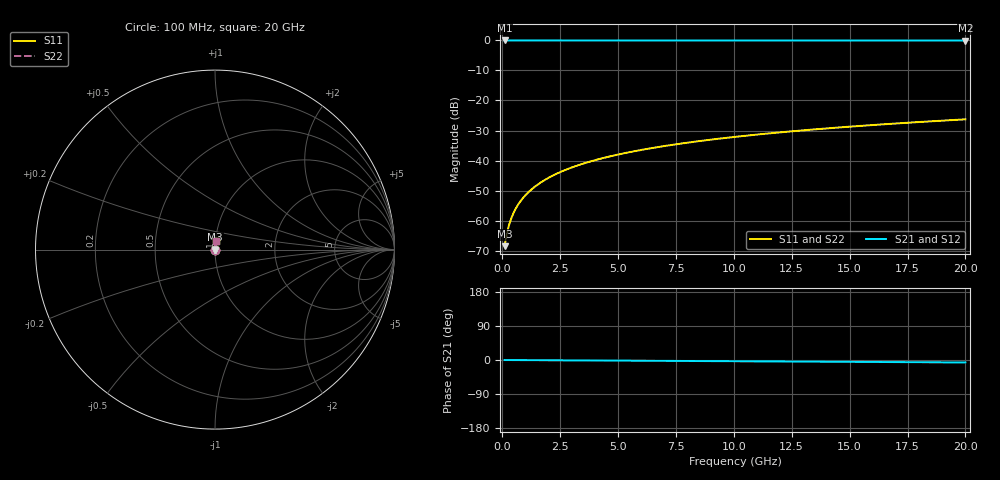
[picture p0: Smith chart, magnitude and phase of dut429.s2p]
! Touchstone file exported from HFSS 2026.1.0
!  File:  C:/ffzhzh/LocalFiles/Ansys_Project_Files/temp_train_TSV_429_1783021130_46388.aedt
!  Generated:  03:40:47 AM Jul  3, 2026
!  Design:  TSV
!  Project:  temp_train_TSV_429_1783021130_46388
! Variables:
!  h_bsmrdl = 2um
!  h_ox = 20um
!  h_rdl = 5um
!  h_sub = 53.95um
!  h_tmrdl = 5um
!  h_tsv = 53.95um
!  h_via = 3um
!  l_bsmrdl = 300um
!  l_sub = 410.68um
!  l_tmrdl = 200um
!  m_sub = 200um
!  pitch = 40.18um
!  r_tsv = 5.34um
!  s_tmrdl = 10um
!  w_bsmrdl = 18um
!  w_sub = 500um
!  w_tmrdl = 12um
!  x_tsv_center1 = 206um
!  x_tsv_center2 = 524um
!  x_tsv_center3 = 736um
!  x_tsv_center4 = 1054um
!  x_tsv_center5 = 1266um
!  x_tsv_center6 = 1584um
# GHz S MA R 50.000000
! Terminal data exported
! Port[1] = TSV1_1_T1
! Port[2] = TSV1_1_T2
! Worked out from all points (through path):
!   200 points, 100 MHz to 20 GHz, reference 50 ohm
!   highest |S21| = 0.00 dB at 100 MHz (marker M1); lowest = 0.0 dB at 20 GHz (marker M2)
!   lowest |S11| = -68.5 dB at 100 MHz (marker M3), VSWR 1.00, Z = 50 + j0.0277 ohm
!   |S11| at or under -10 dB: start of sweep to end of sweep
!   |S22| runs from -68.5 to -26.3 dB; largest |S21 - S12| = 3.9e-15
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0.1  0.0003743 47.6  0.9997 -0.0  0.9997 -0.0  0.0003743 47.6
! Gamma 0 0 0 0
! Port Impedance 50 0 50 0
0.2  0.0006094 64.5  0.9997 -0.1  0.9997 -0.1  0.0006094 64.5
0.3  0.0008644 71.3  0.9997 -0.1  0.9997 -0.1  0.0008644 71.3
0.4  0.001122 74.9  0.9997 -0.1  0.9997 -0.1  0.001122 74.9
0.5  0.001378 77.1  0.9997 -0.2  0.9997 -0.2  0.001378 77.1
0.7  0.001887 79.7  0.9997 -0.2  0.9997 -0.2  0.001887 79.7
0.8  0.002139 80.5  0.9997 -0.3  0.9997 -0.3  0.002139 80.5
1  0.002643 81.8  0.9996 -0.3  0.9996 -0.3  0.002643 81.8
1.2  0.003147 82.7  0.9996 -0.4  0.9996 -0.4  0.003147 82.7
1.4  0.003651 83.3  0.9996 -0.5  0.9996 -0.5  0.003651 83.3
1.7  0.004405 83.9  0.9996 -0.6  0.9996 -0.6  0.004405 83.9
2  0.005159 84.4  0.9995 -0.7  0.9995 -0.7  0.005159 84.4
2.7  0.00691 84.9  0.9995 -0.9  0.9995 -0.9  0.00691 84.9
3.5  0.008895 85.1  0.9994 -1.2  0.9994 -1.2  0.008895 85.1
4.2  0.01062 85.1  0.9993 -1.4  0.9993 -1.4  0.01062 85.1
5  0.01258 85.1  0.9992 -1.6  0.9992 -1.6  0.01258 85.1
6.8  0.01694 84.9  0.999 -2.2  0.999 -2.2  0.01694 84.9
8.3  0.02056 84.7  0.9988 -2.7  0.9988 -2.7  0.02056 84.7
10.1  0.02489 84.3  0.9987 -3.3  0.9987 -3.3  0.02489 84.3
13.4  0.03281 83.6  0.9983 -4.3  0.9983 -4.3  0.03281 83.6
16.7  0.04069 82.7  0.9979 -5.4  0.9979 -5.4  0.04069 82.7
20  0.04851 81.8  0.9974 -6.5  0.9974 -6.5  0.04851 81.8
